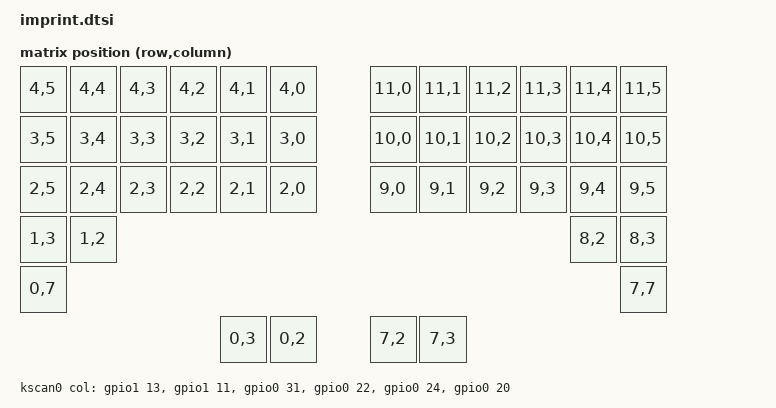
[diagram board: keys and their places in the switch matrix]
#include <dt-bindings/zmk/matrix_transform.h>
#include <input/processors.dtsi>
#include <dt-bindings/zmk/input_transform.h>

/ {
	chosen {
		zmk,kscan = &kscan0;
		zmk,matrix_transform = &keymap_transform_0;
	};

	default_transform: keymap_transform_0 {
	compatible = "zmk,matrix-transform";
		columns = <6>;
		rows = <14>;
		map = <
					  RC(4,5) RC(4,4) RC(4,3) RC(4,2) RC(4,1) RC(4,0)                           RC(11,0) RC(11,1) RC(11,2) RC(11,3) RC(11,4) RC(11,5)
					  RC(3,5) RC(3,4) RC(3,3) RC(3,2) RC(3,1) RC(3,0)                           RC(10,0) RC(10,1) RC(10,2) RC(10,3) RC(10,4) RC(10,5)
					  RC(2,5) RC(2,4) RC(2,3) RC(2,2) RC(2,1) RC(2,0)                           RC(9,0)  RC(9,1)  RC(9,2)  RC(9,3)  RC(9,4)  RC(9,5)
					                  RC(1,3) RC(1,2)                                                             RC(8,2)  RC(8,3)
					  RC(0,7)                                   RC(7,7)
					  RC(0,3) RC(0,2)                   RC(7,2) RC(7,3)
			  >;
	};

	kscan0: kscan {
		compatible = "zmk,kscan-gpio-matrix";
		label = "KSCAN";

		wakeup-source;

		diode-direction = "row2col";
		col-gpios
		= <&gpio1 13 (GPIO_ACTIVE_HIGH | GPIO_PULL_DOWN)> // col2 from schematic
		, <&gpio1 11 (GPIO_ACTIVE_HIGH | GPIO_PULL_DOWN)> // col3 from schematic
		, <&gpio0 31 (GPIO_ACTIVE_HIGH | GPIO_PULL_DOWN)> // col4 from schematic
		, <&gpio0 22 (GPIO_ACTIVE_HIGH | GPIO_PULL_DOWN)> // col5 from schematic
		, <&gpio0 24 (GPIO_ACTIVE_HIGH | GPIO_PULL_DOWN)> // col6 from schematic
		, <&gpio0 20 (GPIO_ACTIVE_HIGH | GPIO_PULL_DOWN)> // col7 from schematic
		;

	};

	//right hand trackball
	split_inputs {
		#address-cells = <1>;
		#size-cells = <0>;

		trackball_peripheral_split: trackball_peripheral_split@0 {
			compatible = "zmk,input-split";
			reg = <0>;
		};
	};

	trackball_peripheral_listener: trackball_peripheral_listener {
		compatible = "zmk,input-listener";
		status = "disabled";
		device = <&trackball_peripheral_split>;
	};
	//left hand trackball
	trackball_central_listener: trackball_central_listener {
		compatible = "zmk,input-listener";
		status = "disabled";
	};
};
